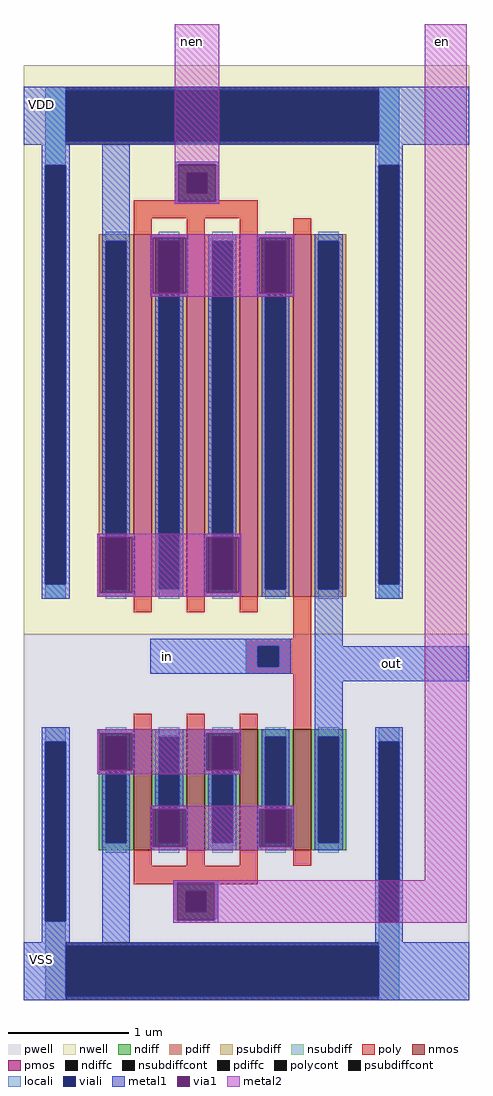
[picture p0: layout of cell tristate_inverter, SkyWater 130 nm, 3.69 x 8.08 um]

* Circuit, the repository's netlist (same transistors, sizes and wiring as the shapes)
** sch_path: /home/ttuser/Documents/tt09-analog-tdc/xschem/tristate_inverter.sch
.subckt tristate_inverter in en nen out VDD VSS
*.PININFO VDD:B in:I out:O VSS:B en:I nen:I
XM5 out in net2 VDD sky130_fd_pr__pfet_01v8 L=0.15 W=3 nf=1 m=1
XM7 out in net1 VSS sky130_fd_pr__nfet_01v8 L=0.15 W=1 nf=1 m=1
XM1 net2 nen VDD VDD sky130_fd_pr__pfet_01v8 L=0.15 W=9 nf=1 m=1
XM2 net1 en VSS VSS sky130_fd_pr__nfet_01v8 L=0.15 W=3 nf=1 m=1
.ends
.end

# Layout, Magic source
magic
tech sky130A
magscale 1 2
<< nwell >>
rect 720 1352 1458 1570
rect 720 628 808 1352
rect 1290 628 1458 1352
<< pwell >>
rect 720 22 1458 628
<< psubdiff >>
rect 756 450 790 474
rect 1308 450 1342 474
rect 756 22 790 152
rect 1308 22 1342 152
<< nsubdiff >>
rect 756 1404 790 1534
rect 1308 1404 1342 1534
rect 756 686 790 710
rect 1308 686 1342 710
<< psubdiffcont >>
rect 756 152 790 450
rect 1308 152 1342 450
rect 790 22 1308 118
<< nsubdiffcont >>
rect 790 1438 1308 1534
rect 756 710 790 1404
rect 1308 710 1342 1404
<< poly >>
rect 970 1392 1044 1404
rect 970 1358 990 1392
rect 1024 1358 1044 1392
rect 970 1346 1044 1358
rect 902 1316 1108 1346
rect 1166 620 1196 664
rect 1088 608 1196 620
rect 1088 574 1108 608
rect 1142 574 1196 608
rect 1088 562 1196 574
rect 1166 496 1196 562
rect 902 214 1108 244
rect 968 202 1042 214
rect 968 168 988 202
rect 1022 168 1042 202
rect 968 156 1042 168
<< polycont >>
rect 990 1358 1024 1392
rect 1108 574 1142 608
rect 988 168 1022 202
<< locali >>
rect 756 1404 790 1534
rect 1308 1404 1342 1534
rect 970 1392 1044 1404
rect 970 1358 990 1392
rect 1024 1358 1044 1392
rect 970 1346 1044 1358
rect 756 686 790 710
rect 1308 686 1342 710
rect 1088 608 1162 620
rect 1088 574 1108 608
rect 1142 574 1162 608
rect 1088 562 1162 574
rect 756 450 790 474
rect 1308 450 1342 474
rect 968 202 1042 214
rect 968 168 988 202
rect 1022 168 1042 202
rect 968 156 1042 168
rect 756 22 790 152
rect 1308 22 1342 152
<< viali >>
rect 790 1444 1308 1528
rect 756 710 790 1404
rect 990 1358 1024 1392
rect 1308 710 1342 1404
rect 1108 574 1142 608
rect 756 152 790 450
rect 988 168 1022 202
rect 1308 152 1342 450
rect 790 28 1308 112
<< metal1 >>
rect 720 1528 1458 1534
rect 720 1444 790 1528
rect 1308 1444 1458 1528
rect 720 1438 1458 1444
rect 750 1404 796 1438
rect 750 710 756 1404
rect 790 710 796 1404
rect 850 1290 896 1438
rect 970 1406 1044 1410
rect 970 1344 976 1406
rect 1038 1344 1044 1406
rect 970 1340 1044 1344
rect 1302 1404 1348 1438
rect 930 1284 992 1290
rect 930 1192 934 1284
rect 988 1192 992 1284
rect 930 1186 992 1192
rect 1106 1284 1168 1290
rect 1106 1192 1110 1284
rect 1164 1192 1168 1284
rect 1106 1186 1168 1192
rect 750 686 796 710
rect 842 788 904 794
rect 842 696 846 788
rect 900 696 904 788
rect 842 690 904 696
rect 1018 788 1080 794
rect 1018 696 1022 788
rect 1076 696 1080 788
rect 1018 690 1080 696
rect 1302 710 1308 1404
rect 1342 710 1348 1404
rect 930 608 1162 620
rect 930 574 1108 608
rect 1142 574 1162 608
rect 930 562 1162 574
rect 1202 608 1248 690
rect 1302 686 1348 710
rect 1202 550 1458 608
rect 750 450 796 474
rect 1202 470 1248 550
rect 750 152 756 450
rect 790 152 796 450
rect 842 464 904 470
rect 842 402 846 464
rect 900 402 904 464
rect 842 396 904 402
rect 1018 464 1080 470
rect 1018 402 1022 464
rect 1076 402 1080 464
rect 1018 396 1080 402
rect 1302 450 1348 474
rect 930 338 992 344
rect 930 276 934 338
rect 988 276 992 338
rect 930 270 992 276
rect 1106 338 1168 344
rect 1106 276 1110 338
rect 1164 276 1168 338
rect 1106 270 1168 276
rect 750 118 796 152
rect 850 118 896 270
rect 968 216 1042 220
rect 968 154 974 216
rect 1036 154 1042 216
rect 968 150 1042 154
rect 1302 152 1308 450
rect 1342 152 1348 450
rect 1302 118 1348 152
rect 720 112 1458 118
rect 720 28 790 112
rect 1308 28 1458 112
rect 720 22 1458 28
<< via1 >>
rect 976 1392 1038 1406
rect 976 1358 990 1392
rect 990 1358 1024 1392
rect 1024 1358 1038 1392
rect 976 1344 1038 1358
rect 934 1192 988 1284
rect 1110 1192 1164 1284
rect 846 696 900 788
rect 1022 696 1076 788
rect 846 402 900 464
rect 1022 402 1076 464
rect 934 276 988 338
rect 1110 276 1164 338
rect 974 202 1036 216
rect 974 168 988 202
rect 988 168 1022 202
rect 1022 168 1036 202
rect 974 154 1036 168
<< metal2 >>
rect 970 1406 1044 1638
rect 970 1344 976 1406
rect 1038 1344 1044 1406
rect 970 1340 1044 1344
rect 930 1284 1168 1290
rect 930 1192 934 1284
rect 988 1192 1110 1284
rect 1164 1192 1168 1284
rect 930 1186 1168 1192
rect 842 788 1080 794
rect 842 696 846 788
rect 900 696 1022 788
rect 1076 696 1080 788
rect 842 690 1080 696
rect 842 464 1080 470
rect 842 402 846 464
rect 900 402 1022 464
rect 1076 402 1080 464
rect 842 396 1080 402
rect 930 338 1168 344
rect 930 276 934 338
rect 988 276 1110 338
rect 1164 276 1168 338
rect 930 270 1168 276
rect 1384 220 1454 1638
rect 968 216 1454 220
rect 968 154 974 216
rect 1036 154 1454 216
rect 968 150 1454 154
use sky130_fd_pr__nfet_01v8_6H9P4D  sky130_fd_pr__nfet_01v8_6H9P4D_0
transform 1 0 917 0 1 370
box -73 -126 73 126
use sky130_fd_pr__nfet_01v8_6H9P4D  sky130_fd_pr__nfet_01v8_6H9P4D_1
transform 1 0 1005 0 1 370
box -73 -126 73 126
use sky130_fd_pr__nfet_01v8_6H9P4D  sky130_fd_pr__nfet_01v8_6H9P4D_2
transform 1 0 1093 0 1 370
box -73 -126 73 126
use sky130_fd_pr__nfet_01v8_6H9P4D  sky130_fd_pr__nfet_01v8_6H9P4D_3
transform 1 0 1181 0 1 370
box -73 -126 73 126
use sky130_fd_pr__pfet_01v8_2K9SAN  sky130_fd_pr__pfet_01v8_2K9SAN_0
transform 1 0 917 0 1 990
box -109 -362 109 362
use sky130_fd_pr__pfet_01v8_2K9SAN  sky130_fd_pr__pfet_01v8_2K9SAN_1
transform 1 0 1005 0 1 990
box -109 -362 109 362
use sky130_fd_pr__pfet_01v8_2K9SAN  sky130_fd_pr__pfet_01v8_2K9SAN_2
transform 1 0 1093 0 1 990
box -109 -362 109 362
use sky130_fd_pr__pfet_01v8_2K9SAN  sky130_fd_pr__pfet_01v8_2K9SAN_3
transform 1 0 1181 0 1 990
box -109 -362 109 362
<< labels >>
rlabel metal1 930 562 988 620 0 in
port 1 nsew
rlabel metal2 1384 1580 1442 1638 0 en
port 2 nsew
rlabel metal2 970 1580 1028 1638 0 nen
port 3 nsew
rlabel metal1 1300 550 1358 608 0 out
port 4 nsew
rlabel metal1 720 1476 778 1534 0 VDD
port 5 nsew
rlabel metal1 720 60 778 118 0 VSS
port 6 nsew
<< end >>

# cell sky130_fd_pr__nfet_01v8_6H9P4D: kit device sky130_fd_pr__nfet_01v8, w 1 l 0.150 m 1 nf 1 diffcov 100 polycov 100 guard 0 glc 1 grc 1 gtc 1 gbc 1 tbcov 100 rlcov 100 topc 0 botc 0 poverlap 0 doverlap 1 lmin 0.15 wmin 0.42 compatible {sky130_fd_pr__nfet_01v8 sky130_fd_pr__nfet_01v8_lvt sky130_fd_bs_flash__special_sonosfet_star sky130_fd_pr__nfet_g5v0d10v5 sky130_fd_pr__nfet_05v0_nvt sky130_fd_pr__nfet_03v3_nvt} full_metal 1 viasrc 100 viadrn 100 viagate 100 viagb 0 viagr 0 viagl 0 viagt 0

# cell sky130_fd_pr__pfet_01v8_2K9SAN: kit device sky130_fd_pr__pfet_01v8, w 3 l 0.15 m 1 nf 1 diffcov 100 polycov 100 guard 0 glc 1 grc 1 gtc 1 gbc 1 tbcov 100 rlcov 100 topc 0 botc 0 poverlap 0 doverlap 1 lmin 0.15 wmin 0.42 compatible {sky130_fd_pr__pfet_01v8 sky130_fd_pr__pfet_01v8_lvt sky130_fd_pr__pfet_01v8_hvt sky130_fd_pr__pfet_g5v0d10v5} full_metal 1 viasrc 100 viadrn 100 viagate 100 viagb 0 viagr 0 viagl 0 viagt 0
